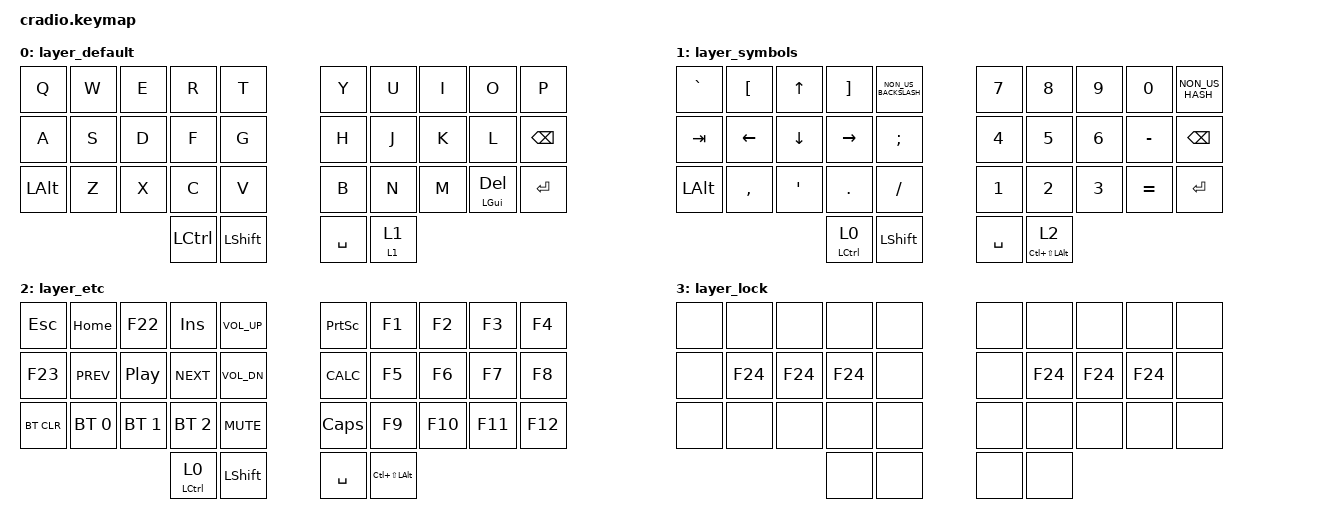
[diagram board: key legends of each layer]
/*
 * Copyright (c) 2020 The ZMK Contributors
 * goat
 * SPDX-License-Identifier: MIT
 */

#include <behaviors.dtsi>
#include <dt-bindings/zmk/keys.h>
#include <dt-bindings/zmk/bt.h>


&mt {
    // flavor = "tap-preferred";
    // tapping_term_ms = <200>;
};

/ {
    chosen {
        // zmk,matrix_transform = &default_transform;
        zmk,matrix_transform = &five_column_transform;
    };
};

/ { 
    behaviors {
        //mod kp when u hold, and to layer when you tap
        mtt:mod_tap_to {
            compatible = "zmk,behavior-hold-tap";
            label = "MOD_TAP_TO";
            #binding-cells = <2>;
            flavor = "balanced";
            tapping-term-ms = <200>;
            quick-tap-ms = <0>;
            bindings = <&kp>, <&to>;
        };
        //momentary layer on hold, and to layer on tap
        mlt:momentary_layer_tap_to {
            compatible = "zmk,behavior-hold-tap";
            label="MOMENTARY_LAYER_TAP_TO";
            #binding-cells = <2>;
            flavor = "balanced";
            tapping-term-ms = <200>;
            quick-tap-ms = <0>;
            bindings = <&mo>, <&to>;
        };
    };

    combos {
        compatible = "zmk,combos";

        combo_unlock {
            timeout-ms = <50>;
            key-positions = <11 12 13 16 17 18>;
            layers = <3>;
            bindings = <&to 0>;
        };

        combo_lock {
            timeout-ms = <50>;
            key-positions = <2 10>;
            layers = <2>;
            bindings = <&to 3>;
        };
    };

    keymap {
        compatible = "zmk,keymap";
                
       	layer_default {
            bindings = <
            &kp Q    &kp W &kp E &kp R     &kp T            &kp Y   &kp U  &kp I &kp O         &kp P 
            &kp A    &kp S &kp D &kp F     &kp G            &kp H   &kp J  &kp K &kp L         &kp BACKSPACE
            &kp LALT &kp Z &kp X &kp C     &kp V            &kp B   &kp N  &kp M &mt LGUI  DEL &kp ENTER
                                 &kp LCTRL &kp LSHFT  	    &kp SPC &mlt 1 1 
            >;
		};

       	layer_symbols {
            bindings = <
            &kp GRAVE &kp LBKT  &kp UP   &kp RBKT     &kp NON_US_BACKSLASH        &kp N7    &kp N8 &kp N9 &kp N0    &kp NON_US_HASH
            &kp TAB   &kp LEFT  &kp DOWN &kp RIGHT    &kp SEMI                    &kp N4    &kp N5 &kp N6 &kp MINUS &kp BACKSPACE 
            &kp LALT  &kp COMMA &kp APOS &kp PERIOD   &kp FSLH                    &kp N1    &kp N2 &kp N3 &kp EQUAL  &kp ENTER 
                                         &mtt LCTRL 0 &kp LSHFT                   &kp SPACE &mtt LC(LS(LALT)) 2 
            >;
		};	
		
		layer_etc {
            bindings = <
            &kp ESC     &kp HOME      &kp F22       &kp INS       &kp C_VOL_UP        &kp PRINTSCREEN &kp F1 &kp F2  &kp F3  &kp F4
            &kp F23     &kp C_PREV    &kp C_PP      &kp C_NEXT    &kp C_VOL_DN        &kp K_CALC      &kp F5 &kp F6  &kp F7  &kp F8 
            &bt BT_CLR  &bt BT_SEL 0  &bt BT_SEL 1  &bt BT_SEL 2  &kp C_MUTE          &kp CAPS        &kp F9 &kp F10 &kp F11 &kp F12   
                                                    &mtt LCTRL 0  &kp LSHFT  	      &kp SPACE       &kp LC(LS(LALT))
            >;
		};	
        
        layer_lock {
            bindings = <
            &none &none   &none   &none   &none        &none &none   &none   &none   &none
            &none &kp F24 &kp F24 &kp F24 &none        &none &kp F24 &kp F24 &kp F24 &none 
            &none &none   &none   &none   &none        &none &none   &none   &none   &none    
                                  &none   &none        &none &none
            >;
		};	
        
	};
};
